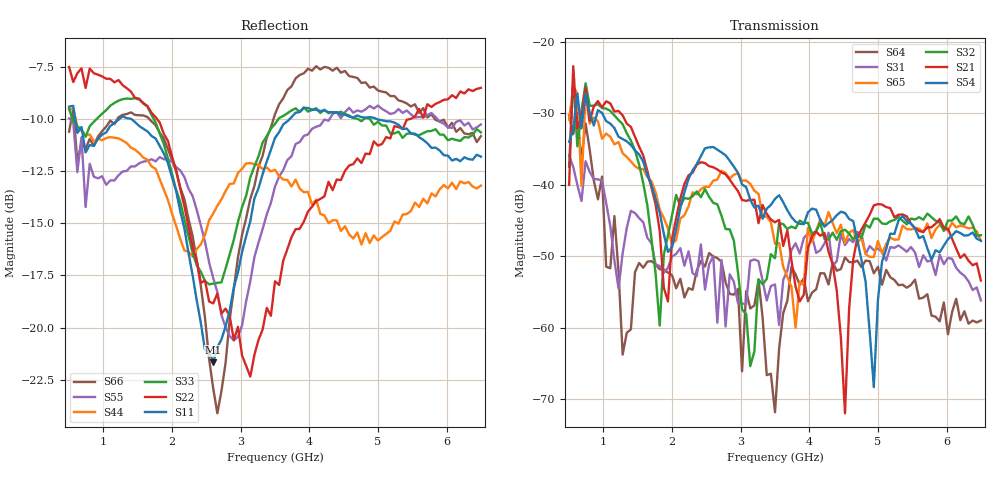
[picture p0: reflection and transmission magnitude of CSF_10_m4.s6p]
!Keysight Technologies,M9804A,MY58100912,A.14.10.03
!Date: Thursday, April 27, 2023 10:28:33
!Correction: S11(C  6-Port  )
!S12(C  6-Port  )
!S13(C  6-Port  )
!S14(C  6-Port  )
!S15(C  6-Port  )
!S16(C  6-Port  )
!S21(C  6-Port  )
!S22(C  6-Port  )
!S23(C  6-Port  )
!S24(C  6-Port  )
!S25(C  6-Port  )
!S26(C  6-Port  )
!S31(C  6-Port  )
!S32(C  6-Port  )
!S33(C  6-Port  )
!S34(C  6-Port  )
!S35(C  6-Port  )
!S36(C  6-Port  )
!S41(C  6-Port  )
!S42(C  6-Port  )
!S43(C  6-Port  )
!S44(C  6-Port  )
!S45(C  6-Port  )
!S46(C  6-Port  )
!S51(C  6-Port  )
!S52(C  6-Port  )
!S53(C  6-Port  )
!S54(C  6-Port  )
!S55(C  6-Port  )
!S56(C  6-Port  )
!S61(C  6-Port  )
!S62(C  6-Port  )
!S63(C  6-Port  )
!S64(C  6-Port  )
!S65(C  6-Port  )
!S66(C  6-Port  )
!S6P File: Measurement: :
# Hz S  RI  R 50
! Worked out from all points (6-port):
!   101 points, 500 MHz to 6.5 GHz, reference 50 ohm
!   strongest paths, dB at 500 MHz, 2 GHz, 3.5 GHz, 5 GHz, 6.5 GHz:
!     S54: -34.0, -48.7, -42.0, -56.1, -47.8
!     S21: -40.0, -47.6, -45.3, -42.7, -53.4
!     S32: -37.5, -44.3, -50.3, -44.8, -47.1
!     S65: -30.9, -48.3, -48.2, -47.9, -47.8
!     S31: -35.9, -50.0, -54.0, -48.9, -56.2
!     S64: -30.3, -52.7, -71.8, -51.5, -59.0
!   lowest |S11| = -21.6 dB at 2.6 GHz (marker M1), VSWR 1.18, Z = 42.6 + j2.05 ohm
!   |S11| at or under -10 dB: 588.6 MHz to 1.236 GHz (647.3 MHz wide, 71 % of centre); 1.401 GHz to 3.717 GHz (2.317 GHz wide, 90.5 % of centre); 4.973 GHz to end of sweep
